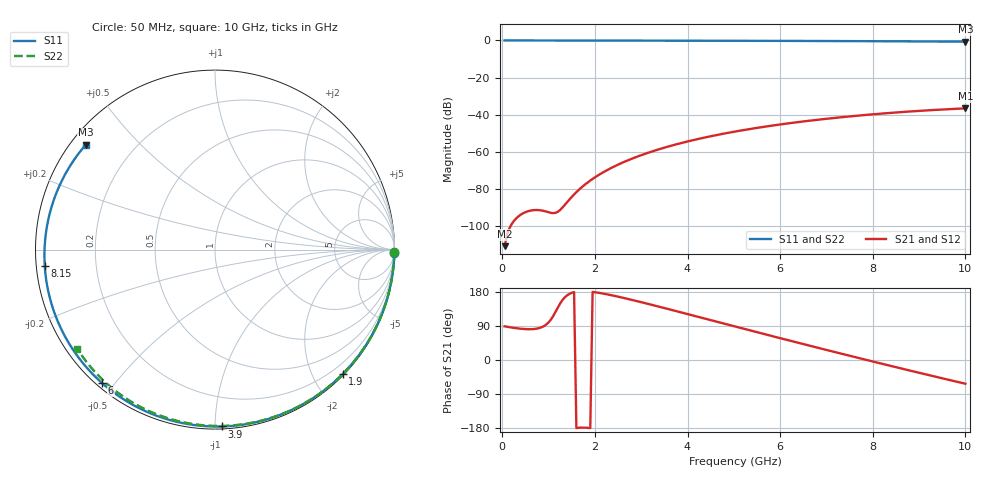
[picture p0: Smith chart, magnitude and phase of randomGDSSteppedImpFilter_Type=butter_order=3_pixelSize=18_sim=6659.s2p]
! freq	dB(S11)	phase(S11)	dB(S12)	phase(S12)
!  dB(S21)	phase(S21)	dB(S22)	phase(S22)
!S-par simulation data
#  GHz  S  DB  R 50
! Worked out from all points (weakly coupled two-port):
!   200 points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, 50 MHz to 10 GHz, reference 50 ohm
!   highest |S21| = -36.59 dB at 10 GHz (marker M1); lowest = -110.8 dB at 50 MHz (marker M2)
!   lowest |S11| = -0.7 dB at 10 GHz (marker M3), VSWR 26.54, Z = 2.12 + j17.7 ohm
!   |S11| at or under -10 dB: nowhere
!   |S22| runs from -0.5 to 0.0 dB; largest |S21 - S12| = 0
!   S11 on the Smith chart (normalised r, x): 50 MHz: open; 1.9 GHz: 0.02, -2.46; 3.9 GHz: 0.01, -1.04; 6 GHz: 0.02, -0.46; 8.15 GHz: 0.02, -0.05; 10 GHz: 0.04, +0.35
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0.05  -0.00 -1.1  -110.79 88.9  -110.79 88.9  -0.00 -0.8
0.8  -0.02 -18.9  -91.39 84.3  -91.39 84.3  -0.02 -13.3
1.2  -0.04 -28.2  -92.26 138.6  -92.26 138.6  -0.02 -19.8
1.65  -0.05 -38.6  -80.50 -178.8  -80.50 -178.8  -0.03 -27.2
1.75  -0.05 -40.9  -78.32 -178.4  -78.32 -178.4  -0.04 -28.8
1.9  -0.06 -44.3  -75.44 -179.6  -75.44 -179.6  -0.04 -31.2
2.2  -0.07 -51.0  -70.70 174.8  -70.70 174.8  -0.05 -36.0
2.55  -0.08 -58.8  -66.31 165.8  -66.31 165.8  -0.05 -41.5
2.95  -0.09 -67.5  -62.24 154.1  -62.24 154.1  -0.06 -47.8
3.4  -0.10 -77.1  -58.48 140.2  -58.48 140.2  -0.07 -54.7
3.9  -0.12 -87.7  -55.03 124.4  -55.03 124.4  -0.09 -62.2
4.45  -0.14 -99.0  -51.86 106.8  -51.86 106.8  -0.10 -70.3
5.05  -0.17 -111.1  -48.96 87.7  -48.96 87.7  -0.12 -78.9
6  -0.23 -130.1  -45.25 57.6  -45.25 57.6  -0.16 -92.2
6.7  -0.28 -144.2  -43.03 35.8  -43.03 35.8  -0.20 -101.6
7.45  -0.35 -159.5  -41.03 12.7  -41.03 12.7  -0.25 -111.5
8.15  -0.42 -174.4  -39.47 -8.5  -39.47 -8.5  -0.30 -120.5
8.35  -0.44 -178.8  -39.07 -14.5  -39.07 -14.5  -0.32 -123.0
8.8  -0.50 170.9  -38.26 -27.9  -38.26 -27.9  -0.36 -128.8
9.2  -0.55 161.4  -37.62 -39.6  -37.62 -39.6  -0.40 -133.9
9.6  -0.60 151.4  -37.06 -51.2  -37.06 -51.2  -0.44 -139.0
10  -0.65 141.0  -36.59 -62.6  -36.59 -62.6  -0.49 -144.2
